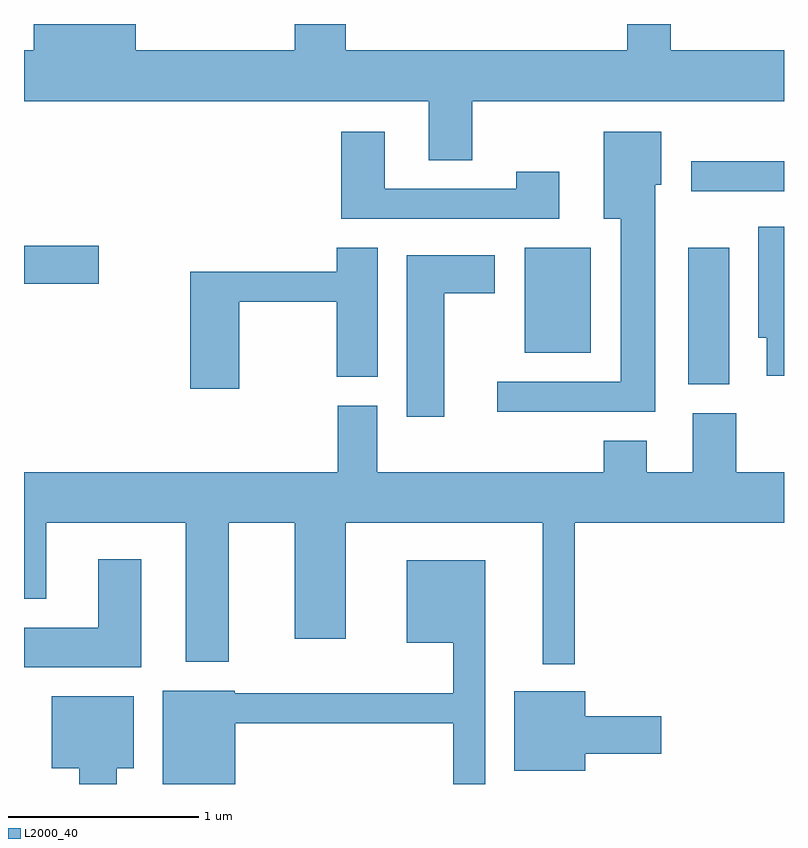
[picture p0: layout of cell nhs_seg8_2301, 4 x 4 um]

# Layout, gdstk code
import gdstk
lib = gdstk.Library(unit=1e-6, precision=1e-09)
def R(c, l, rs):  # rectangles x0, y0, x1, y1
    for r in rs: c.add(gdstk.rectangle(r[:2], r[2:], *l))
def P(c, l, *ps):  # polygons
    for p in ps: c.add(gdstk.Polygon(p, *l))
L2000_40 = (2000, 40)

nhs_seg8_2301 = lib.new_cell('nhs_seg8_2301')
R(nhs_seg8_2301, L2000_40, [(257.106,1870.446,257.324,1871.164), (256.246,1870.611,256.594,1871.164), (253.611,1870.976,254.004,1871.174), (257.123,1871.461,257.611,1871.619)])
P(nhs_seg8_2301, L2000_40, [(255.969,1871.936),(257.611,1871.936),(257.611,1872.204),(257.014,1872.204),(257.014,1872.342),(256.786,1872.342),(256.786,1872.204),(255.304,1872.204),(255.304,1872.342),(255.036,1872.342),(255.036,1872.204),(254.199,1872.204),(254.199,1872.342),(253.661,1872.342),(253.661,1872.204),(253.611,1872.204),(253.611,1871.936),(255.741,1871.936),(255.741,1871.626),(255.969,1871.626)],
  [(256.429,1871.564),(256.201,1871.564),(256.201,1871.474),(255.509,1871.474),(255.509,1871.774),(255.281,1871.774),(255.281,1871.316),(256.429,1871.316)],
  [(256.934,1871.496),(256.964,1871.496),(256.964,1871.774),(256.661,1871.774),(256.661,1871.316),(256.751,1871.316),(256.751,1870.459),(256.103,1870.459),(256.103,1870.301),(256.934,1870.301)],
  [(257.611,1871.274),(257.476,1871.274),(257.476,1870.691),(257.521,1870.691),(257.521,1870.491),(257.611,1870.491)],
  [(254.744,1870.881),(255.256,1870.881),(255.256,1870.486),(255.474,1870.486),(255.474,1871.164),(255.256,1871.164),(255.256,1871.039),(254.486,1871.039),(254.486,1870.421),(254.744,1870.421)],
  [(255.824,1870.926),(256.089,1870.926),(256.089,1871.124),(255.626,1871.124),(255.626,1870.276),(255.824,1870.276)],
  [(256.509,1869.716),(257.611,1869.716),(257.611,1869.984),(257.359,1869.984),(257.359,1870.294),(257.131,1870.294),(257.131,1869.984),(256.889,1869.984),(256.889,1870.149),(256.661,1870.149),(256.661,1869.984),(255.469,1869.984),(255.469,1870.334),(255.261,1870.334),(255.261,1869.984),(253.611,1869.984),(253.611,1869.316),(253.729,1869.316),(253.729,1869.716),(254.461,1869.716),(254.461,1868.986),(254.689,1868.986),(254.689,1869.716),(255.036,1869.716),(255.036,1869.106),(255.304,1869.106),(255.304,1869.716),(256.341,1869.716),(256.341,1868.973),(256.509,1868.973)],
  [(254.229,1869.524),(254.001,1869.524),(254.001,1869.164),(253.611,1869.164),(253.611,1868.956),(254.229,1868.956)],
  [(254.724,1868.661),(255.871,1868.661),(255.871,1868.342),(256.039,1868.342),(256.039,1869.519),(255.626,1869.519),(255.626,1869.086),(255.871,1869.086),(255.871,1868.819),(254.72,1868.819),(254.72,1868.834),(254.341,1868.834),(254.341,1868.342),(254.724,1868.342)],
  [(256.564,1868.501),(256.964,1868.501),(256.964,1868.699),(256.564,1868.699),(256.564,1868.829),(256.191,1868.829),(256.191,1868.411),(256.564,1868.411)],
  [(254.099,1868.426),(254.189,1868.426),(254.189,1868.804),(253.756,1868.804),(253.756,1868.426),(253.901,1868.426),(253.901,1868.342),(254.099,1868.342)])

lib.write_gds('nhs_seg8_2301.gds')
